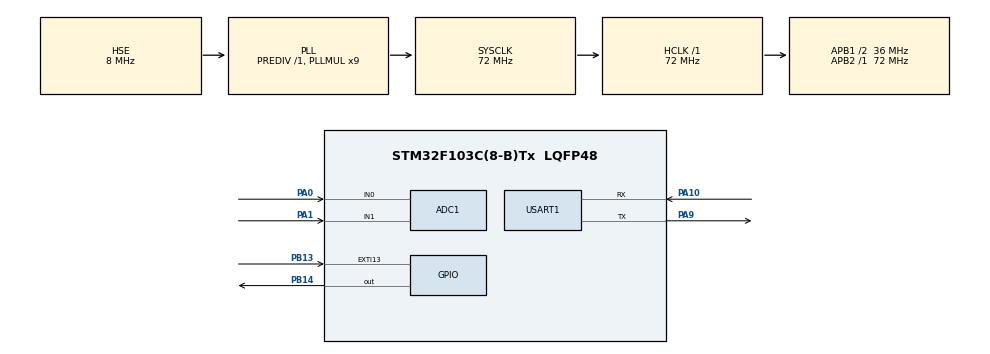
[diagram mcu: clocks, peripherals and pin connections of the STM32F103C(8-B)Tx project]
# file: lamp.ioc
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ADC1.Channel-0\#ChannelRegularConversion=ADC_CHANNEL_0
ADC1.Channel-1\#ChannelRegularConversion=ADC_CHANNEL_1
ADC1.ContinuousConvMode=DISABLE
ADC1.DiscontinuousConvMode=ENABLE
ADC1.NbrOfConversion=2
ADC1.NbrOfConversionFlag=1
ADC1.Rank-0\#ChannelRegularConversion=1
ADC1.Rank-1\#ChannelRegularConversion=2
ADC1.SamplingTime-0\#ChannelRegularConversion=ADC_SAMPLETIME_1CYCLE_5
ADC1.SamplingTime-1\#ChannelRegularConversion=ADC_SAMPLETIME_1CYCLE_5
ADC1.master=1
Mcu.Family=STM32F1
Mcu.Name=STM32F103C(8-B)Tx
Mcu.Package=LQFP48
NVIC.EXTI15_10_IRQn=true\:0\:0\:false\:false\:true\:true\:true\:true
NVIC.PriorityGroup=NVIC_PRIORITYGROUP_4
NVIC.TIM4_IRQn=true\:0\:0\:false\:false\:true\:true\:true\:true
PA0-WKUP.Signal=ADCx_IN0
PA1.Signal=ADCx_IN1
PA10.Mode=Asynchronous
PA10.Signal=USART1_RX
PA13.Mode=Serial_Wire
PA13.Signal=SYS_JTMS-SWDIO
PA14.Mode=Serial_Wire
PA14.Signal=SYS_JTCK-SWCLK
PA9.Mode=Asynchronous
PA9.Signal=USART1_TX
PB13.GPIO_PuPd=GPIO_PULLUP
PB13.Signal=GPXTI13
PB14.Signal=GPIO_Output
PD0-OSC_IN.Mode=HSE-External-Oscillator
PD0-OSC_IN.Signal=RCC_OSC_IN
PD1-OSC_OUT.Mode=HSE-External-Oscillator
PD1-OSC_OUT.Signal=RCC_OSC_OUT
ProjectManager.HeapSize=0x200
ProjectManager.StackSize=0x400
ProjectManager.TargetToolchain=STM32CubeIDE
RCC.ADCPresc=RCC_ADCPCLK2_DIV6
RCC.AHBFreq_Value=72000000
RCC.APB1CLKDivider=RCC_HCLK_DIV2
RCC.APB1Freq_Value=36000000
RCC.APB1TimFreq_Value=72000000
RCC.APB2Freq_Value=72000000
RCC.APB2TimFreq_Value=72000000
RCC.HCLKFreq_Value=72000000
RCC.PLLMUL=RCC_PLL_MUL9
RCC.PLLSourceVirtual=RCC_PLLSOURCE_HSE
RCC.SYSCLKFreq_VALUE=72000000
RCC.SYSCLKSource=RCC_SYSCLKSOURCE_PLLCLK
RCC.USBFreq_Value=72000000
SH.ADCx_IN0.0=ADC1_IN0,IN0
SH.ADCx_IN1.0=ADC1_IN1,IN1
TIM4.AutoReloadPreload=TIM_AUTORELOAD_PRELOAD_ENABLE
TIM4.Period=999
TIM4.Prescaler=71
TIM4.TIM_MasterOutputTrigger=TIM_TRGO_UPDATE
USART1.VirtualMode=VM_ASYNC
VP_TIM4_VS_ClockSourceINT.Mode=Internal
board=custom

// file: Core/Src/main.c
/* USER CODE BEGIN Header */
/**
  ******************************************************************************
  * @file           : main.c
  * @brief          : Main program body
  ******************************************************************************
  * @attention
  *
  * Copyright (c) 2025 STMicroelectronics.
  * All rights reserved.
  *
  * This software is licensed under terms that can be found in the LICENSE file
  * in the root directory of this software component.
  * If no LICENSE file comes with this software, it is provided AS-IS.
  *
  ******************************************************************************
  */
/* USER CODE END Header */
#include "main.h"
#include "adc.h"
#include "tim.h"
#include "usart.h"
#include "gpio.h"

/* USER CODE BEGIN Includes */
#include <string.h>
#include <stdio.h>
#include <stdlib.h>
/* USER CODE END Includes */

/* USER CODE BEGIN PV */
uint16_t LightThresholdVal = 2000;//光阈值，大于该值认为是夜间
uint16_t VoiceThresholdVal = 800;//声音阈值，小于该值，认为有大声音
uint8_t MovingObjectFg = 0;    //检测到移动物体标志
uint8_t LoudVoiceFg = 0;//出现大声音标志
uint8_t DayOrNightFg = 0;//白天晚上标志志，0为白天，1为晚上
uint16_t PhotoSensorAdVal = 0;//光敏传感器AD值
uint16_t VoiceSensorAdVal = 0;//声音传感器AD值
uint8_t Timer1msFg = 0;    //定时器1ms标志
/* USER CODE END PV */

void SystemClock_Config(void);

/* USER CODE BEGIN 0 */
/*采集光敏传感器和声音传感器的AD值*/
void AnaSampleCalc(void)
{
    uint8_t i = 0;
    int16_t adc_buf[3] = {0};
    char str[40] = {0};
    for(i=0;i<2;i++)
    {
        HAL_ADC_Start(&hadc1);
        HAL_ADC_PollForConversion(&hadc1,0xffff);

        if(HAL_IS_BIT_SET(HAL_ADC_GetState(&hadc1), HAL_ADC_STATE_REG_EOC))
        {
            adc_buf[i] = HAL_ADC_GetValue(&hadc1);
        }
    }
    HAL_ADC_Stop(&hadc1);
    PhotoSensorAdVal = adc_buf[0];
    VoiceSensorAdVal = adc_buf[1];
//    sprintf(str,"%d %d\n",adc_buf[0],adc_buf[1]);
//    HAL_UART_Transmit(&huart1,str,strlen(str),0xffff);//打印AD值
}
/*根据光敏传感器的AD值与阈值比较，判断白天与夜间*/
void DayOrNightJudge(void)
{
    static uint16_t cnt1 = 0;
    static uint16_t cnt2 = 0;
    if(PhotoSensorAdVal>LightThresholdVal)    //夜间
    {
        if(++cnt1>=5)
        {
            cnt1=5;
            cnt2=0;
            DayOrNightFg = 1;
        }
    }
    else
    {
        if(++cnt2>=5)
        {
            cnt2=5;
            cnt1 = 0;
            DayOrNightFg = 0;
        }
    }
}
/*根据声音传感器的AD值与阈值比较，判断是否有大声音*/
void LoudVoiceDetection(void)
{

    if(VoiceSensorAdVal<VoiceThresholdVal)    //有大声音
    {

            LoudVoiceFg = 1;

    }
    else
    {

            LoudVoiceFg = 0;

    }
}
/*灯的控制流程*/
void LampControl(void)
{
    static uint8_t step = 1;
    static uint16_t time_cnt = 0;
    switch(step)
    {
        case 1:
            if(DayOrNightFg==1)//当前为夜间
            {
                if(LoudVoiceFg)//大声音标志
                {
                    step++;
                }
                else if(MovingObjectFg)//移动物体标志
                {
                    MovingObjectFg = 0;
                    step++;
                }
            }
            break;
        case 2:
            HAL_UART_Transmit(&huart1,"lamp On!\n",strlen("lamp On!\n"),0xffff);
            HAL_GPIO_WritePin(GPIOB, GPIO_PIN_14, GPIO_PIN_RESET);//打开灯
            time_cnt = 0;    //计时清零
            step++;
            break;
        case 3:
            if(++time_cnt>=5000)//计时5秒
            {
                HAL_UART_Transmit(&huart1,"lamp off!\n",strlen("lamp off!\n"),0xffff);
                HAL_GPIO_WritePin(GPIOB, GPIO_PIN_14, GPIO_PIN_SET);//关闭灯
                MovingObjectFg = 0;
                step = 1;
            }
            break;
    }
}
/* USER CODE END 0 */

int main(void)
{

  /* MCU Configuration--------------------------------------------------------*/

  /* Reset of all peripherals, Initializes the Flash interface and the Systick. */
  HAL_Init();

  /* Configure the system clock */
  SystemClock_Config();

  /* Initialize all configured peripherals */
  MX_GPIO_Init();
  MX_ADC1_Init();
  MX_TIM4_Init();
  MX_USART1_UART_Init();
  /* USER CODE BEGIN 2 */
  HAL_GPIO_WritePin(GPIOB, GPIO_PIN_14, GPIO_PIN_SET);//先关闭灯
  HAL_TIM_Base_Start_IT(&htim4);//开启定时器4中断

  /* USER CODE END 2 */

  /* Infinite loop */
  while (1)
  {

    /* USER CODE BEGIN 3 */
    if(Timer1msFg)
    {
      Timer1msFg = 0;
      AnaSampleCalc();
      DayOrNightJudge();
      LoudVoiceDetection();
      LampControl();
    }
  }
  /* USER CODE END 3 */
}

void SystemClock_Config(void)
{
  RCC_OscInitTypeDef RCC_OscInitStruct = {0};
  RCC_ClkInitTypeDef RCC_ClkInitStruct = {0};
  RCC_PeriphCLKInitTypeDef PeriphClkInit = {0};

  /** Initializes the RCC Oscillators according to the specified parameters
  * in the RCC_OscInitTypeDef structure.
  */
  RCC_OscInitStruct.OscillatorType = RCC_OSCILLATORTYPE_HSE;
  RCC_OscInitStruct.HSEState = RCC_HSE_ON;
  RCC_OscInitStruct.HSEPredivValue = RCC_HSE_PREDIV_DIV1;
  RCC_OscInitStruct.HSIState = RCC_HSI_ON;
  RCC_OscInitStruct.PLL.PLLState = RCC_PLL_ON;
  RCC_OscInitStruct.PLL.PLLSource = RCC_PLLSOURCE_HSE;
  RCC_OscInitStruct.PLL.PLLMUL = RCC_PLL_MUL9;
  if (HAL_RCC_OscConfig(&RCC_OscInitStruct) != HAL_OK)
  {
    Error_Handler();
  }

  /** Initializes the CPU, AHB and APB buses clocks
  */
  RCC_ClkInitStruct.ClockType = RCC_CLOCKTYPE_HCLK|RCC_CLOCKTYPE_SYSCLK
                              |RCC_CLOCKTYPE_PCLK1|RCC_CLOCKTYPE_PCLK2;
  RCC_ClkInitStruct.SYSCLKSource = RCC_SYSCLKSOURCE_PLLCLK;
  RCC_ClkInitStruct.AHBCLKDivider = RCC_SYSCLK_DIV1;
  RCC_ClkInitStruct.APB1CLKDivider = RCC_HCLK_DIV2;
  RCC_ClkInitStruct.APB2CLKDivider = RCC_HCLK_DIV1;

  if (HAL_RCC_ClockConfig(&RCC_ClkInitStruct, FLASH_LATENCY_2) != HAL_OK)
  {
    Error_Handler();
  }
  PeriphClkInit.PeriphClockSelection = RCC_PERIPHCLK_ADC;
  PeriphClkInit.AdcClockSelection = RCC_ADCPCLK2_DIV6;
  if (HAL_RCCEx_PeriphCLKConfig(&PeriphClkInit) != HAL_OK)
  {
    Error_Handler();
  }
}

/* USER CODE BEGIN 4 */
/*雷达信号外部中断回调函数*/
void HAL_GPIO_EXTI_Callback(uint16_t GPIO_Pin)
{

    if(GPIO_Pin==GPIO_PIN_13)
    {
        MovingObjectFg = 1;//置检测到移动物体标志
    }
}
/*定时器4中断回调函数*/
void HAL_TIM_PeriodElapsedCallback(TIM_HandleTypeDef *htim)
{
  if (htim->Instance == htim4.Instance)
  {
      Timer1msFg = 1;
  }
}
/* USER CODE END 4 */

void Error_Handler(void)
{
  __disable_irq();
  while (1)
  {
  }
}
